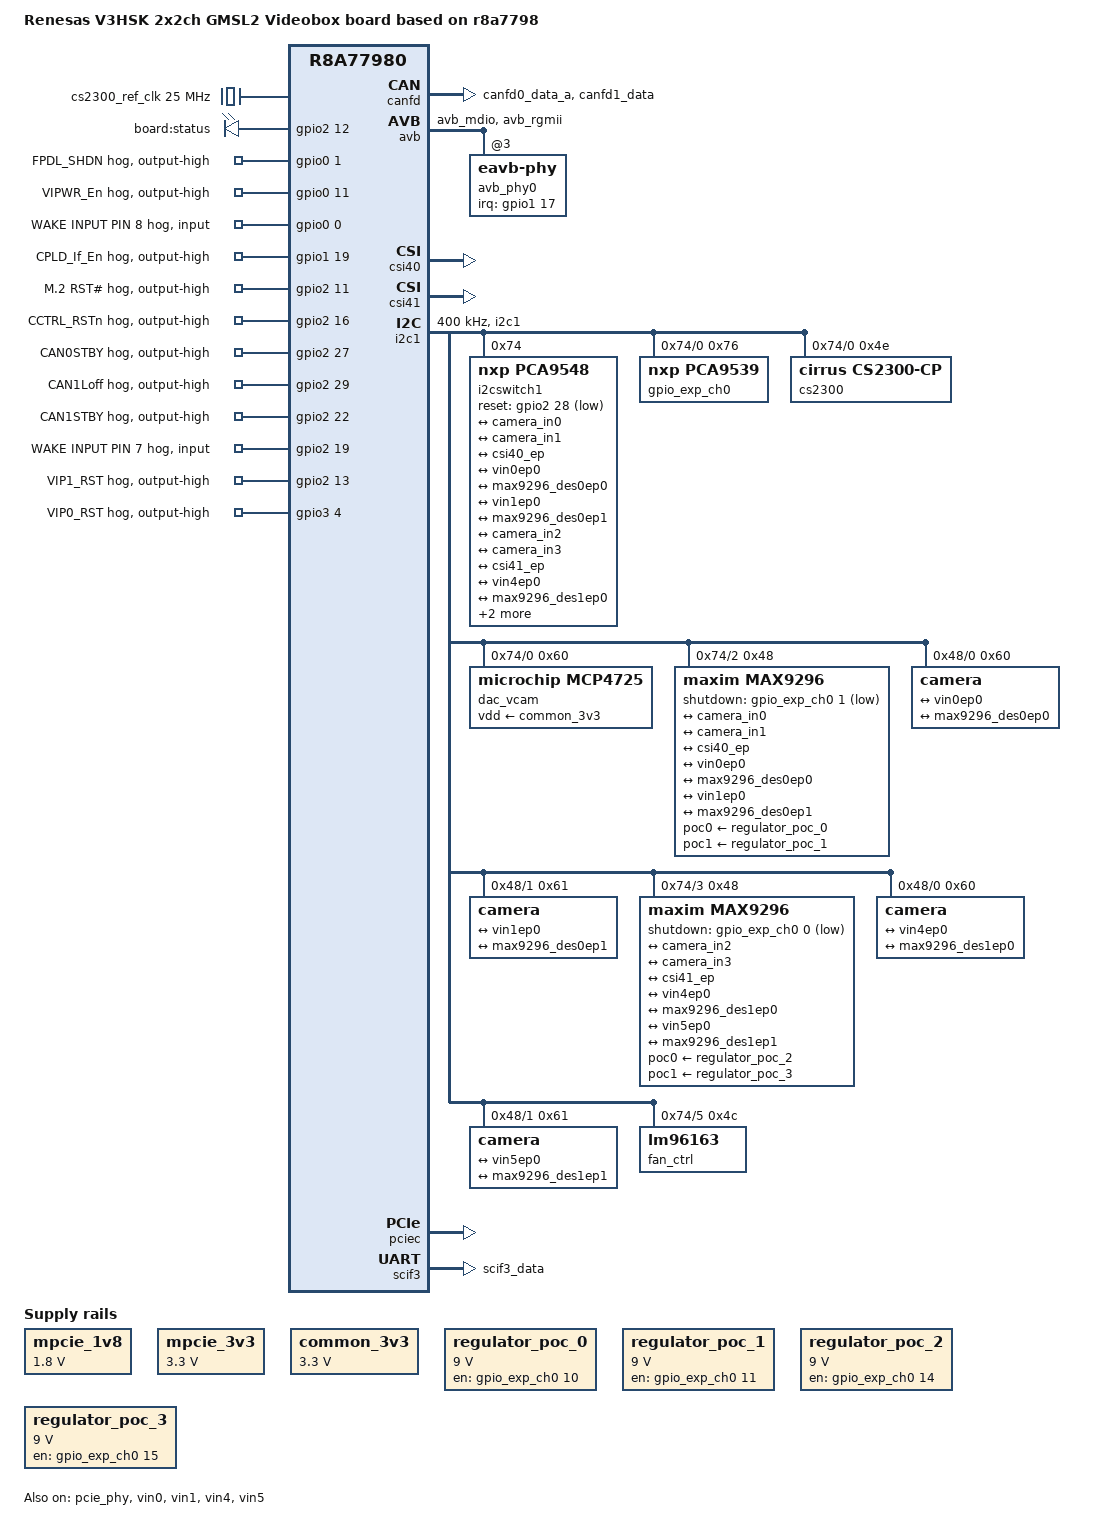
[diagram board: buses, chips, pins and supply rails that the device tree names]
/*
 * Device Tree Source for the V3HSK GMSL2 Dual Videobox Mini board on r8a7798
 *
 * Copyright (C) 2020 Cogent Embedded, Inc.
 *
 * This file is licensed under the terms of the GNU General Public License
 * version 2.  This program is licensed "as is" without any warranty of any
 * kind, whether express or implied.
 */

#include "r8a77980-v3hsk.dts"
#include <dt-bindings/gpio/gpio.h>
/* FDPLink output */
//#include "vb-fdplink-output.dtsi"
#include "camera.dtsi"

/ {
	model = "Renesas V3HSK 2x2ch GMSL2 Videobox board based on r8a7798";

	aliases {
		serial1 = &scif3;
		ethernet1 = &avb;
	};

	cs2300_ref_clk: cs2300_ref_clk {
		compatible = "fixed-clock";
		#clock-cells = <0>;
		clock-frequency = <25000000>;
	};

	leds {
		compatible = "gpio-leds";

		led0 {
			label = "board:status";
			gpios = <&gpio2 12 GPIO_ACTIVE_HIGH>;
			linux,default-trigger = "none";
		};
	};

	mpcie_1v8: regulator2 {
		compatible = "regulator-fixed";
		regulator-name = "mPCIe 1v8";
		regulator-min-microvolt = <1800000>;
		regulator-max-microvolt = <1800000>;
		regulator-boot-on;
		regulator-always-on;
	};

	mpcie_3v3: regulator3 {
		compatible = "regulator-fixed";
		regulator-name = "mPCIe 3v3";
		regulator-min-microvolt = <3300000>;
		regulator-max-microvolt = <3300000>;
		regulator-boot-on;
		regulator-always-on;
	};

	common_3v3: regulator4 {
		compatible = "regulator-fixed";
		regulator-name = "main 3v3";
		regulator-min-microvolt = <3300000>;
		regulator-max-microvolt = <3300000>;
		regulator-boot-on;
		regulator-always-on;
	};

	regulator_poc_0: regulator-poc-0 {
		compatible = "regulator-fixed";

		regulator-name = "POC 0";
		regulator-min-microvolt = <9000000>;
		regulator-max-microvolt = <9000000>;
		startup-delay-us = <50>;

		gpio = <&gpio_exp_ch0 10 GPIO_ACTIVE_HIGH>;
		enable-active-high;
	};

	regulator_poc_1: regulator-poc-1 {
		compatible = "regulator-fixed";

		regulator-name = "POC 1";
		regulator-min-microvolt = <9000000>;
		regulator-max-microvolt = <9000000>;
		startup-delay-us = <50>;

		gpio = <&gpio_exp_ch0 11 GPIO_ACTIVE_HIGH>;
		enable-active-high;
	};

	regulator_poc_2: regulator-poc-2 {
		compatible = "regulator-fixed";

		regulator-name = "POC 2";
		regulator-min-microvolt = <9000000>;
		regulator-max-microvolt = <9000000>;
		startup-delay-us = <50>;

		gpio = <&gpio_exp_ch0 14 GPIO_ACTIVE_HIGH>;
		enable-active-high;
	};

	regulator_poc_3: regulator-poc-3 {
		compatible = "regulator-fixed";

		regulator-name = "POC 3";
		regulator-min-microvolt = <9000000>;
		regulator-max-microvolt = <9000000>;
		startup-delay-us = <50>;

		gpio = <&gpio_exp_ch0 15 GPIO_ACTIVE_HIGH>;
		enable-active-high;
	};
};

&canfd {
	pinctrl-0 = <&canfd0_pins &canfd1_pins>;
	pinctrl-names = "default";
	status = "okay";

	channel0 {
		status = "okay";
	};

	channel1 {
		status = "okay";
	};
};

&avb {
	pinctrl-0 = <&avb_pins>;
	pinctrl-names = "default";
	renesas,no-ether-link;
	phy-handle = <&avb_phy0>;
	status = "okay";
	phy-int-gpio = <&gpio1 17 GPIO_ACTIVE_LOW>;

	avb_phy0: eavb-phy@0 {
		rxc-skew-ps = <1500>;
		rxdv-skew-ps = <420>; /* default */
		rxd0-skew-ps = <420>; /* default */
		rxd1-skew-ps = <420>; /* default */
		rxd2-skew-ps = <420>; /* default */
		rxd3-skew-ps = <420>; /* default */
		txc-skew-ps = <900>; /* default */
		txen-skew-ps = <420>; /* default */
		txd0-skew-ps = <420>; /* default */
		txd1-skew-ps = <420>; /* default */
		txd2-skew-ps = <420>; /* default */
		txd3-skew-ps = <420>; /* default */
		reg = <3>;
		interrupt-parent = <&gpio1>;
		interrupts = <17 IRQ_TYPE_LEVEL_LOW>;
		max-speed = <1000>;
	};
};

&csi40 {
	status = "okay";

	port {
		#address-cells = <1>;
		#size-cells = <0>;

		csi40_ep: endpoint {
			clock-lanes = <0>;
			data-lanes = <1 2 3 4>;
			csi-rate = <1200>;
		};
	};
};

&csi41 {
	status = "okay";

	port {
		#address-cells = <1>;
		#size-cells = <0>;

		csi41_ep: endpoint {
			clock-lanes = <0>;
			data-lanes = <1 2 3 4>;
			csi-rate = <1200>;
		};
	};
};

&i2c1 {
	pinctrl-0 = <&i2c1_pins>;
	pinctrl-names = "default";
	status = "okay";

	clock-frequency = <400000>;

	i2cswitch1: i2c-switch@74 {
		compatible = "nxp,pca9548";
		#address-cells = <1>;
		#size-cells = <0>;
		reg = <0x74>;
		reset-gpios = <&gpio2 28 GPIO_ACTIVE_LOW>;

		/* CCTRL_SDA and CCTRL_SCL */
		i2c@0 {
			#address-cells = <1>;
			#size-cells = <0>;
			reg = <0>;

			gpio_exp_ch0: gpio_ch0@76 {
				compatible = "nxp,pca9539";
				reg = <0x76>;
				gpio-controller;
				#gpio-cells = <2>;

				cmr_pwr_en {
					gpio-hog;
					gpios = <3 GPIO_ACTIVE_HIGH>;
					output-high;
					line-name = "CmrPEn";
				};
			};

			/* CS2300 node @0x4e */
			cs2300: clk_multiplier@4e {
				#clock-cells = <0>;
				compatible = "cirrus,cs2300-cp";
				reg = <0x4e>;
				clocks = <&cs2300_ref_clk>;
				clock-names = "clk_in";

				assigned-clocks = <&cs2300>;
				assigned-clock-rates = <25000000>;
			};

			dac_vcam: dac_vcam@60 {
				compatible = "microchip,mcp4725";
				reg = <0x60>;
				vdd-supply = <&common_3v3>;
			};
		};

		/* DS0_SDA and DS0_SCL */
		i2c@2 {
			#address-cells = <1>;
			#size-cells = <0>;
			reg = <2>;

			max9296@48 {
				compatible = "maxim,max9296";
				#address-cells = <1>;
				#size-cells = <0>;
				reg = <0x48>;
				clocks = <&cs2300>;
				clock-names = "ref_clk";
				shutdown-gpios = <&gpio_exp_ch0 1 GPIO_ACTIVE_LOW>;

				maxim,links-mipi-map = <1 1>;

				poc0-supply = <&regulator_poc_0>;
				poc1-supply = <&regulator_poc_1>;

				port@0 {
					max9296_des0ep0: endpoint@0 {
						ser-addr = <0x0c>;
						remote-endpoint = <&camera_in0>;
					};
					max9296_des0ep1: endpoint@1 {
						ser-addr = <0x0d>;
						remote-endpoint = <&camera_in1>;
					};
				};

				port@1 {
					max9296_des0mipi1: endpoint {
						csi-rate = <1200>;
						remote-endpoint = <&csi40_ep>;
					};
				};

				i2c@0 {
					#address-cells = <1>;
					#size-cells = <0>;
					reg = <0>;

					camera@60 {
						compatible = COMPATIBLE_CAMERAS;
						reg = <0x60 0x0c>;

						port@0 {
							camera_in0: endpoint {
								clock-lanes = <0>;
								data-lanes = <1 2 3 4>;
								remote-endpoint = <&vin0ep0>;
							};
						};
						port@1 {
							camera_max9296_des0ep0: endpoint@1 {
								remote-endpoint = <&max9296_des0ep0>;
							};
						};
					};
				};

				i2c@1 {
					#address-cells = <1>;
					#size-cells = <0>;
					reg = <1>;

					camera@61 {
						compatible = COMPATIBLE_CAMERAS;
						reg = <0x61 0x0d>;

						port@0 {
							camera_in1: endpoint {
								clock-lanes = <0>;
								data-lanes = <1 2 3 4>;
								remote-endpoint = <&vin1ep0>;
							};
						};
						port@1 {
							camera_max9296_des0ep1: endpoint@1 {
								remote-endpoint = <&max9296_des0ep1>;
							};
						};
					};
				};
			};
		};

		/* DS1_SDA and DS1_SCL */
		i2c@3 {
			#address-cells = <1>;
			#size-cells = <0>;
			reg = <3>;

			max9296@48 {
				compatible = "maxim,max9296";
				#address-cells = <1>;
				#size-cells = <0>;
				reg = <0x48>;
				clocks = <&cs2300>;
				clock-names = "ref_clk";
				shutdown-gpios = <&gpio_exp_ch0 0 GPIO_ACTIVE_LOW>;

				maxim,links-mipi-map = <1 1>;

				poc0-supply = <&regulator_poc_2>;
				poc1-supply = <&regulator_poc_3>;

				port@0 {
					max9296_des1ep0: endpoint@0 {
						ser-addr = <0x0c>;
						remote-endpoint = <&camera_in2>;
					};
					max9296_des1ep1: endpoint@1 {
						ser-addr = <0x0d>;
						remote-endpoint = <&camera_in3>;
					};
				};

				port@1 {
					max9296_des1mipi1: endpoint {
						csi-rate = <1200>;
						remote-endpoint = <&csi41_ep>;
					};
				};

				i2c@0 {
					#address-cells = <1>;
					#size-cells = <0>;
					reg = <0>;

					camera@60 {
						compatible = COMPATIBLE_CAMERAS;
						reg = <0x60 0x0c>;

						port@0 {
							camera_in2: endpoint {
								clock-lanes = <0>;
								data-lanes = <1 2 3 4>;
								remote-endpoint = <&vin4ep0>;
							};
						};
						port@1 {
							camera_max9296_des1ep0: endpoint@1 {
								remote-endpoint = <&max9296_des1ep0>;
							};
						};
					};
				};

				i2c@1 {
					#address-cells = <1>;
					#size-cells = <0>;
					reg = <1>;

					camera@61 {
						compatible = COMPATIBLE_CAMERAS;
						reg = <0x61 0x0d>;

						port@0 {
							camera_in3: endpoint {
								clock-lanes = <0>;
								data-lanes = <1 2 3 4>;
								remote-endpoint = <&vin5ep0>;
							};
						};
						port@1 {
							camera_max9296_des1ep1: endpoint@1 {
								remote-endpoint = <&max9296_des1ep1>;
							};
						};
					};
				};
			};
		};

		/* Disp_SDA and Disp_SCL */
		i2c@5 {
			#address-cells = <1>;
			#size-cells = <0>;
			reg = <5>;

			/* fan node - lm96063 */
			fan_ctrl: lm96063@4c {
				compatible = "lm96163";
				reg = <0x4c>;
			};
		};

		/* ESDA and ESCL */
		i2c@7 {
			#address-cells = <1>;
			#size-cells = <0>;
			reg = <7>;

			/* ext connector nodes here */
		};
	};
};

&gpio0 {
	fpdl_shdn {
		gpio-hog;
		gpios = <1 GPIO_ACTIVE_HIGH>;
		output-high;
		line-name = "FPDL_SHDN";
	};

	cam_pwr_en {
		gpio-hog;
		gpios = <11 GPIO_ACTIVE_HIGH>;
		output-high;
		line-name = "VIPWR_En";
	};

	wake_pin_8 {
		gpio-hog;
		gpios = <0 GPIO_ACTIVE_HIGH>;
		input;
		line-name = "WAKE INPUT PIN 8";
	};
};

&gpio1 {
	md_buf_en {
		gpio-hog;
		gpios = <19 GPIO_ACTIVE_HIGH>;
		output-high;
		line-name = "CPLD_If_En";
	};
};

&gpio2 {
	m2_rst {
		gpio-hog;
		gpios = <11 GPIO_ACTIVE_HIGH>;
		output-high;
		line-name = "M.2 RST#";
	};

	cctrl_rstn {
		gpio-hog;
		gpios = <16 GPIO_ACTIVE_HIGH>;
		output-high;
		line-name = "CCTRL_RSTn";
	};

	can0_stby {
		gpio-hog;
		gpios = <27 GPIO_ACTIVE_HIGH>;
		output-high;
		line-name = "CAN0STBY";
	};

	can1_load {
		gpio-hog;
		gpios = <29 GPIO_ACTIVE_HIGH>;
		output-high;
		line-name = "CAN1Loff";
	};

	can1_stby {
		gpio-hog;
		gpios = <22 GPIO_ACTIVE_HIGH>;
		output-high;
		line-name = "CAN1STBY";
	};

	wake_pin_7 {
		gpio-hog;
		gpios = <19 GPIO_ACTIVE_HIGH>;
		input;
		line-name = "WAKE INPUT PIN 7";
	};

	vi1_gpioext_rst {
		gpio-hog;
		gpios = <13 GPIO_ACTIVE_HIGH>;
		output-high;
		line-name = "VIP1_RST";
	};
};

&gpio3 {
	vi0_gpioext_rst {
		gpio-hog;
		gpios = <4 GPIO_ACTIVE_HIGH>;
		output-high;
		line-name = "VIP0_RST";
	};
};

&pcie_bus_clk {
	clock-frequency = <100000000>;
	status = "okay";
};

&pciec {
	pcie3v3-supply = <&mpcie_3v3>;
	pcie1v8-supply = <&mpcie_1v8>;
	status = "okay";
};

&pcie_phy {
	status = "okay";
};

&pfc {
	canfd0_pins: canfd0 {
		groups = "canfd0_data_a";
		function = "canfd0";
	};

	canfd1_pins: canfd1 {
		groups = "canfd1_data";
		function = "canfd1";
	};

	avb_pins: avb {
		groups = "avb_mdio", "avb_rgmii";
		function = "avb";
	};

	i2c1_pins: i2c1 {
		groups = "i2c1";
		function = "i2c1";
	};

	scif3_pins: scif3 {
		groups = "scif3_data";
		function = "scif3";
	};
};

&scif3 {
	pinctrl-0 = <&scif3_pins>;
	pinctrl-names = "default";

	status = "okay";
};

&tpu {
	status = "disabled";
};

&vin0 {
	status = "okay";

	ports {
		#address-cells = <1>;
		#size-cells = <0>;

		port@0 {
			vin0ep0: endpoint {
				csi,select = "csi40";
				virtual,channel = <0>;
				data-lanes = <1 2 3 4>;
				remote-endpoint = <&camera_in0>;
			};
		};
		port@1 {
			csi0ep0: endpoint {
				remote-endpoint = <&csi40_ep>;
			};
		};
		port@2 {
			vin0_max9296_des0ep0: endpoint@1 {
				remote-endpoint = <&max9296_des0ep0>;
			};
		};
	};
};

&vin1 {
	status = "okay";

	ports {
		#address-cells = <1>;
		#size-cells = <0>;

		port@0 {
			vin1ep0: endpoint {
				csi,select = "csi40";
				virtual,channel = <1>;
				data-lanes = <1 2 3 4>;
				remote-endpoint = <&camera_in1>;
			};
		};
		port@1 {
			csi0ep1: endpoint {
				remote-endpoint = <&csi40_ep>;
			};
		};
		port@2 {
			vin1_max9296_des0ep1: endpoint@1 {
				remote-endpoint = <&max9296_des0ep1>;
			};
		};
	};
};

&vin4 {
	status = "okay";

	ports {
		#address-cells = <1>;
		#size-cells = <0>;

		port@0 {
			vin4ep0: endpoint {
				csi,select = "csi41";
				virtual,channel = <0>;
				data-lanes = <1 2 3 4>;
				remote-endpoint = <&camera_in2>;
			};
		};
		port@1 {
			csi1ep0: endpoint {
				remote-endpoint = <&csi41_ep>;
			};
		};
		port@2 {
			vin4_max9296_des1ep0: endpoint@1 {
				remote-endpoint = <&max9296_des1ep0>;
			};
		};
	};
};

&vin5 {
	status = "okay";

	ports {
		#address-cells = <1>;
		#size-cells = <0>;

		port@0 {
			vin5ep0: endpoint {
				csi,select = "csi41";
				virtual,channel = <1>;
				data-lanes = <1 2 3 4>;
				remote-endpoint = <&camera_in3>;
			};
		};
		port@1 {
			csi1ep1: endpoint {
				remote-endpoint = <&csi41_ep>;
			};
		};
		port@2 {
			vin5_max9296_des1ep1: endpoint@1 {
				remote-endpoint = <&max9296_des1ep1>;
			};
		};
	};
};
